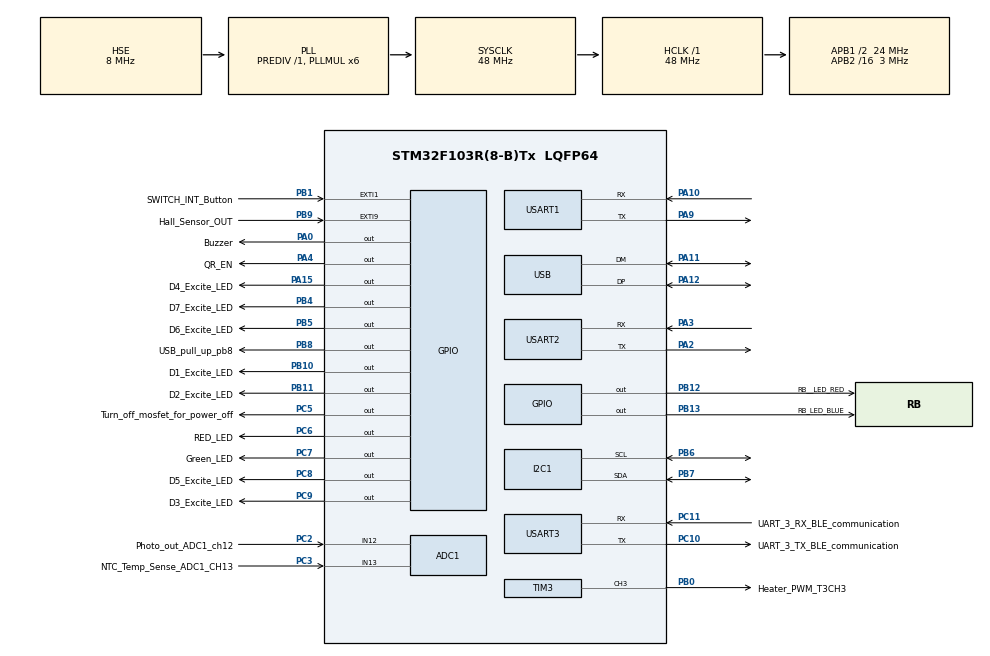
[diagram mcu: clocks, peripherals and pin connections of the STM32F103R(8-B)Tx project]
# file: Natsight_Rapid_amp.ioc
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ADC1.Channel-0\#ChannelRegularConversion=ADC_CHANNEL_12
ADC1.Channel-1\#ChannelRegularConversion=ADC_CHANNEL_13
ADC1.ContinuousConvMode=ENABLE
ADC1.NbrOfConversion=2
ADC1.NbrOfConversionFlag=1
ADC1.Rank-0\#ChannelRegularConversion=1
ADC1.Rank-1\#ChannelRegularConversion=2
ADC1.SamplingTime-0\#ChannelRegularConversion=ADC_SAMPLETIME_239CYCLES_5
ADC1.SamplingTime-1\#ChannelRegularConversion=ADC_SAMPLETIME_239CYCLES_5
ADC1.master=1
Dma.ADC1.0.Direction=DMA_PERIPH_TO_MEMORY
Dma.ADC1.0.Instance=DMA1_Channel1
Dma.ADC1.0.MemDataAlignment=DMA_MDATAALIGN_HALFWORD
Dma.ADC1.0.MemInc=DMA_MINC_ENABLE
Dma.ADC1.0.Mode=DMA_CIRCULAR
Dma.ADC1.0.PeriphDataAlignment=DMA_PDATAALIGN_HALFWORD
Dma.ADC1.0.PeriphInc=DMA_PINC_DISABLE
Dma.ADC1.0.Priority=DMA_PRIORITY_VERY_HIGH
Dma.Request0=ADC1
Mcu.Family=STM32F1
Mcu.Name=STM32F103R(8-B)Tx
Mcu.Package=LQFP64
NVIC.DMA1_Channel1_IRQn=true\:0\:0\:false\:false\:true\:false\:true\:true
NVIC.EXTI1_IRQn=true\:0\:0\:false\:false\:true\:true\:true\:true
NVIC.EXTI9_5_IRQn=true\:0\:0\:false\:false\:true\:true\:true\:true
NVIC.PriorityGroup=NVIC_PRIORITYGROUP_4
NVIC.TIM4_IRQn=true\:0\:0\:false\:false\:true\:true\:true\:true
NVIC.USART2_IRQn=true\:0\:0\:false\:false\:true\:true\:true\:true
NVIC.USART3_IRQn=true\:0\:0\:false\:false\:true\:true\:true\:true
NVIC.USB_LP_CAN1_RX0_IRQn=true\:0\:0\:false\:false\:true\:false\:true\:true
PA0-WKUP.GPIO_Label=Buzzer
PA0-WKUP.Signal=GPIO_Output
PA10.Mode=Asynchronous
PA10.Signal=USART1_RX
PA11.Mode=Device
PA11.Signal=USB_DM
PA12.Mode=Device
PA12.Signal=USB_DP
PA13.Mode=Serial_Wire
PA13.Signal=SYS_JTMS-SWDIO
PA14.Mode=Serial_Wire
PA14.Signal=SYS_JTCK-SWCLK
PA15.GPIO_Label=D4_Excite_LED
PA15.PinState=GPIO_PIN_RESET
PA15.Signal=GPIO_Output
PA2.Mode=Asynchronous
PA2.Signal=USART2_TX
PA3.Mode=Asynchronous
PA3.Signal=USART2_RX
PA4.GPIO_Label=QR_EN
PA4.Signal=GPIO_Output
PA9.Mode=Asynchronous
PA9.Signal=USART1_TX
PB0.GPIO_Label=Heater_PWM_T3CH3
PB0.Signal=S_TIM3_CH3
PB1.GPIO_Label=SWITCH_INT_Button
PB1.GPIO_ModeDefaultEXTI=GPIO_MODE_IT_FALLING
PB1.Signal=GPXTI1
PB10.GPIO_Label=D1_Excite_LED
PB10.PinState=GPIO_PIN_RESET
PB10.Signal=GPIO_Output
PB11.GPIO_Label=D2_Excite_LED
PB11.PinState=GPIO_PIN_RESET
PB11.Signal=GPIO_Output
PB12.GPIO_Label=RB__LED_RED
PB12.Signal=GPIO_Output
PB13.GPIO_Label=RB_LED_BLUE
PB13.Signal=GPIO_Output
PB4.GPIO_Label=D7_Excite_LED
PB4.PinState=GPIO_PIN_RESET
PB4.Signal=GPIO_Output
PB5.GPIO_Label=D6_Excite_LED
PB5.PinState=GPIO_PIN_RESET
PB5.Signal=GPIO_Output
PB6.Mode=I2C
PB6.Signal=I2C1_SCL
PB7.Mode=I2C
PB7.Signal=I2C1_SDA
PB8.GPIO_Label=USB_pull_up_pb8
PB8.Signal=GPIO_Output
PB9.GPIO_Label=Hall_Sensor_OUT
PB9.Signal=GPXTI9
PC10.GPIO_Label=UART_3_TX_BLE_communication
PC10.Mode=Asynchronous
PC10.Signal=USART3_TX
PC11.GPIO_Label=UART_3_RX_BLE_communication
PC11.Mode=Asynchronous
PC11.Signal=USART3_RX
PC2.GPIO_Label=Photo_out_ADC1_ch12
PC2.Signal=ADCx_IN12
PC3.GPIO_Label=NTC_Temp_Sense_ADC1_CH13
PC3.Signal=ADCx_IN13
PC5.GPIO_Label=Turn_off_mosfet_for_power_off
PC5.Signal=GPIO_Output
PC6.GPIO_Label=RED_LED
PC6.Signal=GPIO_Output
PC7.GPIO_Label=Green_LED
PC7.Signal=GPIO_Output
PC8.GPIO_Label=D5_Excite_LED
PC8.PinState=GPIO_PIN_RESET
PC8.Signal=GPIO_Output
PC9.GPIO_Label=D3_Excite_LED
PC9.PinState=GPIO_PIN_RESET
PC9.Signal=GPIO_Output
PD0-OSC_IN.Mode=HSE-External-Oscillator
PD0-OSC_IN.Signal=RCC_OSC_IN
PD1-OSC_OUT.Mode=HSE-External-Oscillator
PD1-OSC_OUT.Signal=RCC_OSC_OUT
ProjectManager.HeapSize=0x200
ProjectManager.StackSize=0x400
ProjectManager.TargetToolchain=STM32CubeIDE
RCC.ADCPresc=RCC_ADCPCLK2_DIV6
RCC.AHBFreq_Value=48000000
RCC.APB1CLKDivider=RCC_HCLK_DIV2
RCC.APB1Freq_Value=24000000
RCC.APB1TimFreq_Value=48000000
RCC.APB2CLKDivider=RCC_HCLK_DIV16
RCC.APB2Freq_Value=3000000
RCC.APB2TimFreq_Value=6000000
RCC.HCLKFreq_Value=48000000
RCC.PLLMUL=RCC_PLL_MUL6
RCC.SYSCLKFreq_VALUE=48000000
RCC.SYSCLKSource=RCC_SYSCLKSOURCE_PLLCLK
RCC.USBFreq_Value=48000000
SH.ADCx_IN12.0=ADC1_IN12,IN12
SH.ADCx_IN13.0=ADC1_IN13,IN13
SH.S_TIM3_CH3.0=TIM3_CH3,PWM Generation3 CH3
TIM3.Channel-PWM\ Generation3\ CH3=TIM_CHANNEL_3
TIM3.Period=1000
TIM3.Prescaler=48-1
TIM4.AutoReloadPreload=TIM_AUTORELOAD_PRELOAD_ENABLE
TIM4.Period=50000
TIM4.Prescaler=48-1
USART1.VirtualMode=VM_ASYNC
USART2.VirtualMode=VM_ASYNC
USART3.VirtualMode=VM_ASYNC
USB_DEVICE.CLASS_NAME_FS=CDC
USB_DEVICE.VirtualMode=Cdc
USB_DEVICE.VirtualModeFS=Cdc_FS
VP_TIM3_VS_ClockSourceINT.Mode=Internal
VP_TIM4_VS_ClockSourceINT.Mode=Internal
VP_USB_DEVICE_VS_USB_DEVICE_CDC_FS.Mode=CDC_FS
board=custom

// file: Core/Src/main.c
/* USER CODE BEGIN Header */
/**
  ******************************************************************************
  * @file           : main.c
  * @brief          : Main program body
  ******************************************************************************
  * @attention
  *
  * Copyright (c) 2026 STMicroelectronics.
  * All rights reserved.
  *
  * This software is licensed under terms that can be found in the LICENSE file
  * in the root directory of this software component.
  * If no LICENSE file comes with this software, it is provided AS-IS.
  *
  ******************************************************************************
  */
/* USER CODE END Header */
#include "main.h"
#include "usb_device.h"

/* USER CODE BEGIN Includes */

#include "string.h"
#include <stdint.h>
#include <NTC_calculate_temp.h>
#include <PID.h>
#include "Basic_functions_1.h"
#include "Result_interpretation.h"
#include <math.h>
#include <stdio.h>
#include "usbd_cdc_if.h"
#include "ssd1306_1.h"
/* USER CODE END Includes */

/* USER CODE BEGIN PD */
volatile uint16_t ADC_VAL_DMA[2]={0},ADC_Average_result[2]={0};
volatile uint32_t ADC_VAL=0,count_button=0,TIM4_count=0,LID_Count=0,Second_count_in_Timer=0,minute_counter_in_Timer=0;
volatile uint8_t PRE_HEAT_FLAG=0,Count_Excite_LED_position=0,START_Reading_Switch=0,Data_Aquisition_flag_photo=0,Minutes_is_less_30_minutes=0,BUZZER_FLAG=0,SOMETHING_DETECTED=0,GET_USB_Status=0,RESULT_DETECTED=1;
float Current_Temp=0.0f,Set_Target_Temp=62.0f;
volatile uint32_t three_sec_count=0;

//Display Contnet Variable control
static uint8_t Time_2_min = 60,Count_sec = 0;
volatile uint8_t min_tim = 2;
//BLE
volatile   uint8_t DATA_RECIEVED = 0; //for ble data reciving
uint8_t local_buff_BLE[50] = {0};
uint8_t Data_ACK_FLAG = 0;
//BLE variables
#define RX_BLE_BUFF 1
uint8_t RX_buff[RX_BLE_BUFF];

//from usbd_conf.c  file
volatile uint8_t CABLE_PLUGGED=0,CABLE_REMOVED=0;
extern volatile uint8_t START_COMMAND_FROM_PC,STOP_COMMAND_FROM_PC;

/* USER CODE END PD */

/* USER CODE BEGIN PM */
typedef enum
{
  TEMP_OK       = 0x00U,
  TEMP_ERROR    = 0x01U,
  TEMP_SHORT    = 0x02U,
  TEMP_OPEN     = 0x03U
} TEMP_StatusTypeDef;
/* USER CODE END PM */

ADC_HandleTypeDef hadc1;
DMA_HandleTypeDef hdma_adc1;

I2C_HandleTypeDef hi2c1;

TIM_HandleTypeDef htim3;
TIM_HandleTypeDef htim4;

UART_HandleTypeDef huart1;
UART_HandleTypeDef huart2;
UART_HandleTypeDef huart3;

void SystemClock_Config(void);
static void MX_GPIO_Init(void);
static void MX_DMA_Init(void);
static void MX_ADC1_Init(void);
static void MX_TIM3_Init(void);
static void MX_USART1_UART_Init(void);
static void MX_USART2_UART_Init(void);
static void MX_TIM4_Init(void);
static void MX_USART3_UART_Init(void);
static void MX_I2C1_Init(void);
/* USER CODE BEGIN PFP */
void Preheat_loop(void);
TEMP_StatusTypeDef check_Temprature_sensor_available(uint32_t ADC_VAL);
void Turn_off_Rest_of_the_Turned_on_LED(LED_ID id,GPIO_Pin_Status status);
void Trigger_LED_Channel(LED_ID id,GPIO_Pin_Status status);
void Turn_off_All_LED(void);
void Turn_on_All_LED(void);
void Trigger_led_Aquire_data(uint8_t temp_count);
void Reset_buffer_index(void);
void Buzzer_Test_Complete_tone(void);
void Buzzer_power_on_tone(void);
void send_usb_string(const char* str);
void send_BLE_using_USART3_string(const char* str);
void Excite_Aquisition_and_calculate_Result(POSITION *well_ptrs[NUM_CHANNELS]);
void Device_ready_Tone(void);
void Send_timer_to_display_Preheat_time(void);
void Send_timer_to_display_Test_time(void);
Moving_average Average_TEMP={0},Average_Photo_D={0};

/* USER CODE END PFP */

/* USER CODE BEGIN 0 */
/*
 ADC sampling time = (sampling time + conversion cycle )/ADC_CLOCK_FRQ

 ADC sampling time = (239.5 + 12.5)/0.5Mhz =0.48ms

 adc will fire after every 0.48ms and result will get store in moving average

 * */
void HAL_ADC_ConvCpltCallback(ADC_HandleTypeDef *hadc)
{

/*******************average of Photo Diode DATA Start **********************************/
	if(Data_Aquisition_flag_photo)
	{
	uint16_t STORE_LOCAL_ADC_DATA_ONCE_PHOTO[1]= {0};
	STORE_LOCAL_ADC_DATA_ONCE_PHOTO[0] = ADC_VAL_DMA[0];
	Average_Photo_D.sum-=Average_Photo_D.Buffer_PHOTO[Average_Photo_D.buffer_index];
	Average_Photo_D.Buffer_PHOTO[Average_Photo_D.buffer_index] = STORE_LOCAL_ADC_DATA_ONCE_PHOTO[0];
	Average_Photo_D.sum += STORE_LOCAL_ADC_DATA_ONCE_PHOTO[0];
	Average_Photo_D.buffer_index = (Average_Photo_D.buffer_index + 1)%MOVING_BUFFER_SIZE_PHOTO;   //UPDATE circuler  index
	ADC_Average_result[0] = Average_Photo_D.sum / MOVING_BUFFER_SIZE_PHOTO;
	}

/*******************average of Photo Diode DATA END **********************************/

/*******************average of TEMP DATAe DATA Start **********************************/

	//average of TEMP DATA
	uint16_t STORE_LOCAL_ADC_DATA_ONCE_TEMP_NTC[1]= {0};
	STORE_LOCAL_ADC_DATA_ONCE_TEMP_NTC[0] = ADC_VAL_DMA[1];
	Average_TEMP.sum-=Average_TEMP.Buffer_TEMP[Average_TEMP.buffer_index];
	Average_TEMP.Buffer_TEMP[Average_TEMP.buffer_index] = STORE_LOCAL_ADC_DATA_ONCE_TEMP_NTC[0];
	Average_TEMP.sum += STORE_LOCAL_ADC_DATA_ONCE_TEMP_NTC[0];
	Average_TEMP.buffer_index = (Average_TEMP.buffer_index + 1)%MOVING_BUFFER_SIZE_TEMP;   //UPDATE circuler  index
	ADC_Average_result[1] = Average_TEMP.sum / MOVING_BUFFER_SIZE_TEMP;

/*******************average of TEMP DATA DATA END **********************************/
}

//Timer will fire Every 50ms
void HAL_TIM_PeriodElapsedCallback(TIM_HandleTypeDef* htim)
{
  /****************************Preheating 1 sec counter & MINUTE COUNTER Start *****************************************************/
	if(START_Reading_Switch){minute_counter_in_Timer++;}
	Second_count_in_Timer++;
	 if((Second_count_in_Timer >=20) && PRE_HEAT_FLAG)
	 {
		 //Pre Heat LED indicate every 1 sec toggle
		 HAL_GPIO_TogglePin(RB__LED_RED_GPIO_Port, RB__LED_RED_Pin);
		 Second_count_in_Timer = 0;

	 }
	 else if((Second_count_in_Timer >=20) && PRE_HEAT_FLAG == 0 && START_Reading_Switch)
	 	 {
	 	//on going  TEST LED indicate every 1 Sec toggle
		 if(!SOMETHING_DETECTED){
			 //update Display Every second
			 Send_timer_to_display_Test_time();
			 HAL_GPIO_TogglePin(RB_LED_BLUE_GPIO_Port, RB_LED_BLUE_Pin);}   //THIS IS USED WHEN TEST IS COMPLETED TO STOP BLINKING BLUE LED REFER RESULT_INTERPRETATION.C

	 		 //buzzer off
	 		  HAL_GPIO_WritePin(Buzzer_GPIO_Port, Buzzer_Pin, 0);  //off

	 		 //Buzzer toggle
	 		 if(START_Reading_Switch && BUZZER_FLAG && !PRE_HEAT_FLAG){
	 		 HAL_GPIO_TogglePin(Buzzer_GPIO_Port, Buzzer_Pin);
	 	  	 BUZZER_FLAG =0;
	 		 }
	 		 Second_count_in_Timer = 0;
	 	 }
	 else
	 {
		if(Second_count_in_Timer > 15000)
		{
			Second_count_in_Timer = 0;  //reset
		}
	 }

	 if(minute_counter_in_Timer > 6000)
	 {
		 minute_counter_in_Timer = 0;
	 }
 /****************************Preheating 1 Sec counter & MINUTE COUNTER END *****************************************************/

  /****************************Button logic 3 second press power cut off Start *****************************************************/
	 if (htim->Instance == TIM4) // Replace TIMx with your configured timer (e.g., htim2.Instance)
	  {
		 if((HAL_GPIO_ReadPin(SWITCH_INT_Button_GPIO_Port, SWITCH_INT_Button_Pin) == 0) && count_button)
		 {
		 TIM4_count++;// Do your elapsed time task here (e.g., toggle LED)
		 if(TIM4_count > 60)
		 {
			 //turn off mcu power after 3 sec
			 HAL_GPIO_WritePin(Turn_off_mosfet_for_power_off_GPIO_Port, Turn_off_mosfet_for_power_off_Pin, 0);
		 }
		 }
		 else
		 {
			 TIM4_count=0;
		 }
	  }
	/****************************Button logic 3 second press power cut off END *****************************************************/

	 /****************************Calculate Temperature every 50ms and Heater PID power Start **************************************/
	 static PIDController Heater_Power = {0};
	 if(check_Temprature_sensor_available(ADC_Average_result[1]) != TEMP_OK)
		{
			  Error_Handler();
	    }
	    Current_Temp=Calculate_temprature(ADC_Average_result[1]);
	    PID_Decision(&Heater_Power, 200.0f, 0.01f,0.0f, Set_Target_Temp);   //target power iS 5W
	    __HAL_TIM_SET_COMPARE(&htim3, TIM_CHANNEL_3, PID_Compute_for_Heater_Power(&Heater_Power, Current_Temp, 1));  // TIM1->CCR1 = duty;
    /****************************Calculate Temperature every 50ms and Heater PID power END ****************************************/

   /*********************************USB FLAG CONNECTED DISCONNED RESPOND HERE START***********************************************/
	    if(START_COMMAND_FROM_PC)
	   	    	 {
	   	    		START_COMMAND_FROM_PC =0;
	   	    		START_Reading_Switch = 1;  //start from PC command
	   	    		BUZZER_FLAG = 1;  //send start command in main loop
	   	    	    send_usb_string("{0x70,0x04}\n"); //ack start
	   	    	 }
	   	    	 else if(STOP_COMMAND_FROM_PC)
	   	    	 {
	   	    		 STOP_COMMAND_FROM_PC = 0;
	   	    		 send_usb_string("{0x70,0x05}\n"); //ack stop
	   	    		// Error_Handler();

	   	    		 //when user abort test from otherside then by raising this flag we are able to reset controller
	   	    		RESULT_DETECTED = 0;
	   	    		SOMETHING_DETECTED = 1; //to stop blinking of Blue LED
	   	    		Invalid_led_indicate();
	   	    	 }

   /*********************************USB FLAG CONNECTED DISCONNED RESPOND HERE END***********************************************/
}

//BLE interrupt uart 3
void HAL_UART_RxCpltCallback(UART_HandleTypeDef *huart)
{
  	if(huart->Instance == USART3)
  	{
  		static uint8_t store_data_in_buffer = 0;
  		static uint8_t count_recieved_packets = 0;

  		if(RX_buff[0] == 0x7B)   // {
  		{
  			store_data_in_buffer = 1;
  		}
  		else if((RX_buff[0] == 0x7D) && store_data_in_buffer == 1)  // }
  		{
  			store_data_in_buffer = 0;
  			local_buff_BLE[count_recieved_packets++] = RX_buff[0];
  			 if(strcmp((char*)local_buff_BLE,"{0x04}") == 0)  //start command
  			        	 {
  				            Data_ACK_FLAG = 1;
  				          send_BLE_using_USART3_string("{0x70,0x04}\n"); //ack start
  				          send_BLE_using_USART3_string("{0x06}\n");
  			        		 count_recieved_packets = 0;
  			        		START_Reading_Switch = 1;  //start from PC command
  			        		memset(local_buff_BLE,0,50);
  			        	 }
  			        	 else if(strcmp((char*)local_buff_BLE,"{0x05}") == 0)
  			        	 {
  			        		 send_BLE_using_USART3_string("{0x70,0x05}\n"); //ack start
  			        		 count_recieved_packets = 0;
  			        		 memset(local_buff_BLE,0,50);
  			        		// Error_Handler();

  			        		 //when user abort test from otherside then by raising this flag we are able to reset controller
  			        	     RESULT_DETECTED = 0;
  			        	     SOMETHING_DETECTED = 1; //to stop blinking of Blue LED
  			           		 Invalid_led_indicate();
  			        	 }
  			        	 else
  			        	 {
  			        	            	store_data_in_buffer = 0;
  			        	  				count_recieved_packets = 0;
  			        	  			    memset(local_buff_BLE,0,50);
  			        	 }
  		}
  		 if(store_data_in_buffer)
  		{
  			local_buff_BLE[count_recieved_packets++] = RX_buff[0];
  			if(store_data_in_buffer > 48)
  			{
  				store_data_in_buffer = 0;
  				count_recieved_packets = 0;
  			    memset(local_buff_BLE,0,50);
  			}
  		}
  		else if(strcmp((char*)RX_buff,"}") == 0 && store_data_in_buffer == 1)
  		{
  			store_data_in_buffer = 0;
  		}

            HAL_UART_Receive_IT(&huart3,RX_buff,RX_BLE_BUFF);
  	}
}

/* USER CODE END 0 */

int main(void)
{

  /* MCU Configuration--------------------------------------------------------*/

  /* Reset of all peripherals, Initializes the Flash interface and the Systick. */
  HAL_Init();

  /* Configure the system clock */
  SystemClock_Config();

  /* Initialize all configured peripherals */
  MX_GPIO_Init();
  MX_DMA_Init();
  MX_ADC1_Init();
  MX_TIM3_Init();
  MX_USART1_UART_Init();
  MX_USART2_UART_Init();
  MX_USB_DEVICE_Init();
  MX_TIM4_Init();
  MX_USART3_UART_Init();
  MX_I2C1_Init();
  /* USER CODE BEGIN 2 */

  if (SSD1306_Init(&hi2c1)!=0)
  {
	   Error_Handler();
  }

  SSD1306_Clear(SSD1306_BLACK);

  SSD1306_DrawString(0, 0, "RapidAmp", SSD1306_WHITE, 1);
  SSD1306_Update();

  SSD1306_DrawString(0, 20, "By Meril", SSD1306_WHITE, 1);
  SSD1306_Update();

  /***************************************************************************************
   *
   *
   *  All Setup and initialization  Start
   *
   * **************************************************************************************/

  //start BLE interrupt reciever in UART3
  HAL_UART_Receive_IT(&huart3,RX_buff,RX_BLE_BUFF);

//Set Power pin high to get MCU power
  HAL_GPIO_WritePin(Turn_off_mosfet_for_power_off_GPIO_Port, Turn_off_mosfet_for_power_off_Pin, 1);
//Reset all LED to Low
  HAL_GPIO_WritePin(RB_LED_BLUE_GPIO_Port, RB_LED_BLUE_Pin, 1); //off
  HAL_GPIO_WritePin(RB__LED_RED_GPIO_Port, RB__LED_RED_Pin, 1); //off
  HAL_GPIO_WritePin(Green_LED_GPIO_Port, Green_LED_Pin, 1);  //off
  HAL_GPIO_WritePin(RED_LED_GPIO_Port, RED_LED_Pin, 1);  //off
  HAL_GPIO_WritePin(QR_EN_GPIO_Port, QR_EN_Pin, 1);  //off
  HAL_GPIO_WritePin(USB_pull_up_pb8_GPIO_Port, USB_pull_up_pb8_Pin, 1);  //off

  //buzzer off
  HAL_GPIO_WritePin(Buzzer_GPIO_Port, Buzzer_Pin, 0);  //off
  HAL_Delay(200);

  //Turn off All Excitation LEDs
  Turn_off_All_LED();

  //Start DMA for ADC scanning
  HAL_Delay(100);
  HAL_ADCEx_Calibration_Start(&hadc1);  // ← add this
  HAL_ADC_Start_DMA(&hadc1, (uint32_t*)ADC_VAL_DMA, 2);
  HAL_Delay(100);

  //Toggle buzzer thrice indicates power on
  Buzzer_power_on_tone();
  /* USER CODE END 2 */

  /* Infinite loop */
  /* USER CODE BEGIN WHILE */

  //Initialize pointer
  POSITION WELL_1={0},WELL_2={0},WELL_3={0},WELL_4={0},WELL_5={0},WELL_6={0},WELL_7={0};
  // Pointer array — no extra memory, just pointers to existing structs
  POSITION *wells[7] = {&WELL_1, &WELL_2, &WELL_3, &WELL_4,&WELL_5, &WELL_6, &WELL_7};

  //Heater PWM Start
  HAL_TIM_PWM_Start(&htim3, TIM_CHANNEL_3);

  //PCR result initialization all bufferes gets reset here
   PCR_Init(wells);
  /***************************************************************************************
   *
   *
   *  All Setup and initialization  END
   *
   * **************************************************************************************/

 /*********************display initialization start*******************************/
//   if (SSD1306_Init(&hi2c1)!=0)
//   {
//	   Error_Handler();
//   }

    // --- Draw something ---

  /******************************Preheat loop********************************************************/

  Preheat_loop();

  /****************************Preheat loop END***********************************************************/

  //Dont blink On going test LED until it started from Any trigger source
  SOMETHING_DETECTED = 1 ;

  /*****************************************************************************************************

   * FOR EXCITING LEDS
   * Moving TO  clockwise from well 1 to well 7
   *
   *   well 1 - LED5
   *   well 2 - LED6
   *   well 3 - LED7
   *   well 4 - LED4
   *   well 5 - LED2
   *   well 6 - LED3
   *   well 7 - LED1
   *
   * *************************************************************************************/

  //Send Insert Cartridge String to BLE,PC

  send_usb_string("{0x03}\n"); //send Insert Cartridge and close Lid to PC
  send_BLE_using_USART3_string("{0x03}\n");  //send Insert Cartridge and close Lid BLE
  HAL_Delay(50);

  //Device Ready Tone
  Device_ready_Tone();
  HAL_Delay(10);

  //Turn On BLue LED for Readyness
  HAL_GPIO_WritePin(RB_LED_BLUE_GPIO_Port, RB_LED_BLUE_Pin, 0); //on

  //wait here till any start command Received from any source
  while(!START_Reading_Switch)
  {
	  HAL_Delay(10);
  }
  //blink On going test LED until it started from Any trigger source
  send_usb_string("{0x06}\n");  //send test running at first when it start command recieved from pc or BLE or device button press
  send_BLE_using_USART3_string("{0x06}\n");  //send test running at first when it start command recieved from pc or BLE or device button press

  SOMETHING_DETECTED = 0 ;

  SSD1306_Clear(SSD1306_BLACK);
  SSD1306_DrawString(0, 0, "Test      Started", SSD1306_WHITE, 1);
  SSD1306_Update();

 // SSD1306_Clear(SSD1306_BLACK);
  SSD1306_DrawString(0, 30, "Time ", SSD1306_WHITE, 1);
  SSD1306_Update();

  SSD1306_DrawString(0, 50, "Remaining ", SSD1306_WHITE, 1);
  SSD1306_Update();

  while (1)
  {
	     //Once Start Command Received from any source from Switch,PC,BLE This will Start Executing
	     while(START_Reading_Switch)
	     {
            //Once Start command Received This Loop will Run once for to transmit data to BLE and PC
	    	 if(Data_ACK_FLAG)
	    	 {
	    		 for(uint8_t i=0;i<5;i++){
	    		 send_BLE_using_USART3_string("{0x70,0x04}\n"); //ack start
	    		 HAL_Delay(10);
	    		 send_BLE_using_USART3_string("{0x06}\n");
	    		 Data_ACK_FLAG = 0;
	    		 HAL_Delay(10);
	    		 }
	    	 }
	       //Test Running Till Result Anounneced
		  if(minute_counter_in_Timer >= 1220 && Minutes_is_less_30_minutes < 30 && RESULT_DETECTED)  //every 1 min it will execute
		  {
			  send_usb_string("{0x06}\n"); //tEST Running send every minute to pC
			  send_BLE_using_USART3_string("{0x06}\n"); //tEST Running send every minute to BLE
			  Excite_Aquisition_and_calculate_Result(wells);
		  }

		   //when Result is completed then this loop will run once switch is pressed this will work Reset will be performed
		  else if(!RESULT_DETECTED && BUZZER_FLAG)
		  {
			  __NVIC_SystemReset();
		  }
	     }
    /* USER CODE END WHILE */

  }
}

void SystemClock_Config(void)
{
  RCC_OscInitTypeDef RCC_OscInitStruct = {0};
  RCC_ClkInitTypeDef RCC_ClkInitStruct = {0};
  RCC_PeriphCLKInitTypeDef PeriphClkInit = {0};

  /** Initializes the RCC Oscillators according to the specified parameters
  * in the RCC_OscInitTypeDef structure.
  */
  RCC_OscInitStruct.OscillatorType = RCC_OSCILLATORTYPE_HSE;
  RCC_OscInitStruct.HSEState = RCC_HSE_ON;
  RCC_OscInitStruct.HSEPredivValue = RCC_HSE_PREDIV_DIV1;
  RCC_OscInitStruct.HSIState = RCC_HSI_ON;
  RCC_OscInitStruct.PLL.PLLState = RCC_PLL_ON;
  RCC_OscInitStruct.PLL.PLLSource = RCC_PLLSOURCE_HSE;
  RCC_OscInitStruct.PLL.PLLMUL = RCC_PLL_MUL6;
  if (HAL_RCC_OscConfig(&RCC_OscInitStruct) != HAL_OK)
  {
    Error_Handler();
  }

  /** Initializes the CPU, AHB and APB buses clocks
  */
  RCC_ClkInitStruct.ClockType = RCC_CLOCKTYPE_HCLK|RCC_CLOCKTYPE_SYSCLK
                              |RCC_CLOCKTYPE_PCLK1|RCC_CLOCKTYPE_PCLK2;
  RCC_ClkInitStruct.SYSCLKSource = RCC_SYSCLKSOURCE_PLLCLK;
  RCC_ClkInitStruct.AHBCLKDivider = RCC_SYSCLK_DIV1;
  RCC_ClkInitStruct.APB1CLKDivider = RCC_HCLK_DIV2;
  RCC_ClkInitStruct.APB2CLKDivider = RCC_HCLK_DIV16;

  if (HAL_RCC_ClockConfig(&RCC_ClkInitStruct, FLASH_LATENCY_1) != HAL_OK)
  {
    Error_Handler();
  }
  PeriphClkInit.PeriphClockSelection = RCC_PERIPHCLK_ADC|RCC_PERIPHCLK_USB;
  PeriphClkInit.AdcClockSelection = RCC_ADCPCLK2_DIV6;
  PeriphClkInit.UsbClockSelection = RCC_USBCLKSOURCE_PLL;
  if (HAL_RCCEx_PeriphCLKConfig(&PeriphClkInit) != HAL_OK)
  {
    Error_Handler();
  }
}

static void MX_ADC1_Init(void)
{

  ADC_ChannelConfTypeDef sConfig = {0};

  /** Common config
  */
  hadc1.Instance = ADC1;
  hadc1.Init.ScanConvMode = ADC_SCAN_ENABLE;
  hadc1.Init.ContinuousConvMode = ENABLE;
  hadc1.Init.DiscontinuousConvMode = DISABLE;
  hadc1.Init.ExternalTrigConv = ADC_SOFTWARE_START;
  hadc1.Init.DataAlign = ADC_DATAALIGN_RIGHT;
  hadc1.Init.NbrOfConversion = 2;
  if (HAL_ADC_Init(&hadc1) != HAL_OK)
  {
    Error_Handler();
  }

  /** Configure Regular Channel
  */
  sConfig.Channel = ADC_CHANNEL_12;
  sConfig.Rank = ADC_REGULAR_RANK_1;
  sConfig.SamplingTime = ADC_SAMPLETIME_239CYCLES_5;
  if (HAL_ADC_ConfigChannel(&hadc1, &sConfig) != HAL_OK)
  {
    Error_Handler();
  }

  /** Configure Regular Channel
  */
  sConfig.Channel = ADC_CHANNEL_13;
  sConfig.Rank = ADC_REGULAR_RANK_2;
  if (HAL_ADC_ConfigChannel(&hadc1, &sConfig) != HAL_OK)
  {
    Error_Handler();
  }

}

static void MX_I2C1_Init(void)
{

  hi2c1.Instance = I2C1;
  hi2c1.Init.ClockSpeed = 100000;
  hi2c1.Init.DutyCycle = I2C_DUTYCYCLE_2;
  hi2c1.Init.OwnAddress1 = 0;
  hi2c1.Init.AddressingMode = I2C_ADDRESSINGMODE_7BIT;
  hi2c1.Init.DualAddressMode = I2C_DUALADDRESS_DISABLE;
  hi2c1.Init.OwnAddress2 = 0;
  hi2c1.Init.GeneralCallMode = I2C_GENERALCALL_DISABLE;
  hi2c1.Init.NoStretchMode = I2C_NOSTRETCH_DISABLE;
  if (HAL_I2C_Init(&hi2c1) != HAL_OK)
  {
    Error_Handler();
  }

}

static void MX_TIM3_Init(void)
{

  TIM_ClockConfigTypeDef sClockSourceConfig = {0};
  TIM_MasterConfigTypeDef sMasterConfig = {0};
  TIM_OC_InitTypeDef sConfigOC = {0};

  htim3.Instance = TIM3;
  htim3.Init.Prescaler = 48-1;
  htim3.Init.CounterMode = TIM_COUNTERMODE_UP;
  htim3.Init.Period = 1000;
  htim3.Init.ClockDivision = TIM_CLOCKDIVISION_DIV1;
  htim3.Init.AutoReloadPreload = TIM_AUTORELOAD_PRELOAD_DISABLE;
  if (HAL_TIM_Base_Init(&htim3) != HAL_OK)
  {
    Error_Handler();
  }
  sClockSourceConfig.ClockSource = TIM_CLOCKSOURCE_INTERNAL;
  if (HAL_TIM_ConfigClockSource(&htim3, &sClockSourceConfig) != HAL_OK)
  {
    Error_Handler();
  }
  if (HAL_TIM_PWM_Init(&htim3) != HAL_OK)
  {
    Error_Handler();
  }
  sMasterConfig.MasterOutputTrigger = TIM_TRGO_RESET;
  sMasterConfig.MasterSlaveMode = TIM_MASTERSLAVEMODE_DISABLE;
  if (HAL_TIMEx_MasterConfigSynchronization(&htim3, &sMasterConfig) != HAL_OK)
  {
    Error_Handler();
  }
  sConfigOC.OCMode = TIM_OCMODE_PWM1;
  sConfigOC.Pulse = 0;
  sConfigOC.OCPolarity = TIM_OCPOLARITY_HIGH;
  sConfigOC.OCFastMode = TIM_OCFAST_DISABLE;
  if (HAL_TIM_PWM_ConfigChannel(&htim3, &sConfigOC, TIM_CHANNEL_3) != HAL_OK)
  {
    Error_Handler();
  }
  HAL_TIM_MspPostInit(&htim3);

}

static void MX_TIM4_Init(void)
{

  TIM_ClockConfigTypeDef sClockSourceConfig = {0};
  TIM_MasterConfigTypeDef sMasterConfig = {0};

  htim4.Instance = TIM4;
  htim4.Init.Prescaler = 48-1;
  htim4.Init.CounterMode = TIM_COUNTERMODE_UP;
  htim4.Init.Period = 50000;
  htim4.Init.ClockDivision = TIM_CLOCKDIVISION_DIV1;
  htim4.Init.AutoReloadPreload = TIM_AUTORELOAD_PRELOAD_ENABLE;
  if (HAL_TIM_Base_Init(&htim4) != HAL_OK)
  {
    Error_Handler();
  }
  sClockSourceConfig.ClockSource = TIM_CLOCKSOURCE_INTERNAL;
  if (HAL_TIM_ConfigClockSource(&htim4, &sClockSourceConfig) != HAL_OK)
  {
    Error_Handler();
  }
  sMasterConfig.MasterOutputTrigger = TIM_TRGO_RESET;
  sMasterConfig.MasterSlaveMode = TIM_MASTERSLAVEMODE_DISABLE;
  if (HAL_TIMEx_MasterConfigSynchronization(&htim4, &sMasterConfig) != HAL_OK)
  {
    Error_Handler();
  }

}

static void MX_USART1_UART_Init(void)
{

  huart1.Instance = USART1;
  huart1.Init.BaudRate = 115200;
  huart1.Init.WordLength = UART_WORDLENGTH_8B;
  huart1.Init.StopBits = UART_STOPBITS_1;
  huart1.Init.Parity = UART_PARITY_NONE;
  huart1.Init.Mode = UART_MODE_TX_RX;
  huart1.Init.HwFlowCtl = UART_HWCONTROL_NONE;
  huart1.Init.OverSampling = UART_OVERSAMPLING_16;
  if (HAL_UART_Init(&huart1) != HAL_OK)
  {
    Error_Handler();
  }

}

static void MX_USART2_UART_Init(void)
{

  huart2.Instance = USART2;
  huart2.Init.BaudRate = 115200;
  huart2.Init.WordLength = UART_WORDLENGTH_8B;
  huart2.Init.StopBits = UART_STOPBITS_1;
  huart2.Init.Parity = UART_PARITY_NONE;
  huart2.Init.Mode = UART_MODE_TX_RX;
  huart2.Init.HwFlowCtl = UART_HWCONTROL_NONE;
  huart2.Init.OverSampling = UART_OVERSAMPLING_16;
  if (HAL_UART_Init(&huart2) != HAL_OK)
  {
    Error_Handler();
  }

}

static void MX_USART3_UART_Init(void)
{

  huart3.Instance = USART3;
  huart3.Init.BaudRate = 115200;
  huart3.Init.WordLength = UART_WORDLENGTH_8B;
  huart3.Init.StopBits = UART_STOPBITS_1;
  huart3.Init.Parity = UART_PARITY_NONE;
  huart3.Init.Mode = UART_MODE_TX_RX;
  huart3.Init.HwFlowCtl = UART_HWCONTROL_NONE;
  huart3.Init.OverSampling = UART_OVERSAMPLING_16;
  if (HAL_UART_Init(&huart3) != HAL_OK)
  {
    Error_Handler();
  }

}

static void MX_DMA_Init(void)
{

  /* DMA controller clock enable */
  __HAL_RCC_DMA1_CLK_ENABLE();

  /* DMA interrupt init */
  /* DMA1_Channel1_IRQn interrupt configuration */
  HAL_NVIC_SetPriority(DMA1_Channel1_IRQn, 0, 0);
  HAL_NVIC_EnableIRQ(DMA1_Channel1_IRQn);

}

static void MX_GPIO_Init(void)
{
  GPIO_InitTypeDef GPIO_InitStruct = {0};

  /* GPIO Ports Clock Enable */
  __HAL_RCC_GPIOD_CLK_ENABLE();
  __HAL_RCC_GPIOC_CLK_ENABLE();
  __HAL_RCC_GPIOA_CLK_ENABLE();
  __HAL_RCC_GPIOB_CLK_ENABLE();

  /*Configure GPIO pin Output Level */
  HAL_GPIO_WritePin(GPIOA, Buzzer_Pin|QR_EN_Pin|D4_Excite_LED_Pin, GPIO_PIN_RESET);

  /*Configure GPIO pin Output Level */
  HAL_GPIO_WritePin(GPIOC, Turn_off_mosfet_for_power_off_Pin|RED_LED_Pin|Green_LED_Pin|D5_Excite_LED_Pin
                          |D3_Excite_LED_Pin, GPIO_PIN_RESET);

  /*Configure GPIO pin Output Level */
  HAL_GPIO_WritePin(GPIOB, D1_Excite_LED_Pin|D2_Excite_LED_Pin|RB__LED_RED_Pin|RB_LED_BLUE_Pin
                          |D7_Excite_LED_Pin|D6_Excite_LED_Pin|USB_pull_up_pb8_Pin, GPIO_PIN_RESET);

  /*Configure GPIO pins : Buzzer_Pin QR_EN_Pin D4_Excite_LED_Pin */
  GPIO_InitStruct.Pin = Buzzer_Pin|QR_EN_Pin|D4_Excite_LED_Pin;
  GPIO_InitStruct.Mode = GPIO_MODE_OUTPUT_PP;
  GPIO_InitStruct.Pull = GPIO_NOPULL;
  GPIO_InitStruct.Speed = GPIO_SPEED_FREQ_LOW;
  HAL_GPIO_Init(GPIOA, &GPIO_InitStruct);

  /*Configure GPIO pins : Turn_off_mosfet_for_power_off_Pin RED_LED_Pin Green_LED_Pin D5_Excite_LED_Pin
                           D3_Excite_LED_Pin */
  GPIO_InitStruct.Pin = Turn_off_mosfet_for_power_off_Pin|RED_LED_Pin|Green_LED_Pin|D5_Excite_LED_Pin
                          |D3_Excite_LED_Pin;
  GPIO_InitStruct.Mode = GPIO_MODE_OUTPUT_PP;
  GPIO_InitStruct.Pull = GPIO_NOPULL;
  GPIO_InitStruct.Speed = GPIO_SPEED_FREQ_LOW;
  HAL_GPIO_Init(GPIOC, &GPIO_InitStruct);

  /*Configure GPIO pin : SWITCH_INT_Button_Pin */
  GPIO_InitStruct.Pin = SWITCH_INT_Button_Pin;
  GPIO_InitStruct.Mode = GPIO_MODE_IT_FALLING;
  GPIO_InitStruct.Pull = GPIO_NOPULL;
  HAL_GPIO_Init(SWITCH_INT_Button_GPIO_Port, &GPIO_InitStruct);

  /*Configure GPIO pins : D1_Excite_LED_Pin D2_Excite_LED_Pin RB__LED_RED_Pin RB_LED_BLUE_Pin
                           D7_Excite_LED_Pin D6_Excite_LED_Pin USB_pull_up_pb8_Pin */
  GPIO_InitStruct.Pin = D1_Excite_LED_Pin|D2_Excite_LED_Pin|RB__LED_RED_Pin|RB_LED_BLUE_Pin
                          |D7_Excite_LED_Pin|D6_Excite_LED_Pin|USB_pull_up_pb8_Pin;
  GPIO_InitStruct.Mode = GPIO_MODE_OUTPUT_PP;
  GPIO_InitStruct.Pull = GPIO_NOPULL;
  GPIO_InitStruct.Speed = GPIO_SPEED_FREQ_LOW;
  HAL_GPIO_Init(GPIOB, &GPIO_InitStruct);

  /*Configure GPIO pin : Hall_Sensor_OUT_Pin */
  GPIO_InitStruct.Pin = Hall_Sensor_OUT_Pin;
  GPIO_InitStruct.Mode = GPIO_MODE_IT_RISING;
  GPIO_InitStruct.Pull = GPIO_NOPULL;
  HAL_GPIO_Init(Hall_Sensor_OUT_GPIO_Port, &GPIO_InitStruct);

  /* EXTI interrupt init*/
  HAL_NVIC_SetPriority(EXTI1_IRQn, 0, 0);
  HAL_NVIC_EnableIRQ(EXTI1_IRQn);

  HAL_NVIC_SetPriority(EXTI9_5_IRQn, 0, 0);
  HAL_NVIC_EnableIRQ(EXTI9_5_IRQn);

}

/* USER CODE BEGIN 4 */

void Excite_Aquisition_and_calculate_Result(POSITION *well_ptrs[NUM_CHANNELS])
{
	                  minute_counter_in_Timer = 0;
				      Minutes_is_less_30_minutes++;

				      //for Pluslife Excitation PCB

				                      Reset_buffer_index();
				  					  Trigger_led_Aquire_data(1);
				  					  well_ptrs[0]->Buff[Minutes_is_less_30_minutes -1] = ADC_Average_result[0];
				  	             //     call_final_results();

				  	                  Reset_buffer_index();
				  	                  Trigger_led_Aquire_data(2);
				  	                  well_ptrs[1]->Buff[Minutes_is_less_30_minutes -1] = ADC_Average_result[0];

				  					  Reset_buffer_index();
				  					  Trigger_led_Aquire_data(3);
				  					  well_ptrs[2]->Buff[Minutes_is_less_30_minutes -1] = ADC_Average_result[0];

				  					  Reset_buffer_index();
				  					  Trigger_led_Aquire_data(5);
				  					  well_ptrs[3]->Buff[Minutes_is_less_30_minutes -1] = ADC_Average_result[0];

				  					  Reset_buffer_index();
				  					  Trigger_led_Aquire_data(6);
				  					  well_ptrs[4]->Buff[Minutes_is_less_30_minutes -1] = ADC_Average_result[0];

				  					  Reset_buffer_index();
				  					  Trigger_led_Aquire_data(7);
				  					  well_ptrs[5]->Buff[Minutes_is_less_30_minutes -1] = ADC_Average_result[0];

				  					  Reset_buffer_index();
				  					  Trigger_led_Aquire_data(4);
				  					  well_ptrs[6]->Buff[Minutes_is_less_30_minutes -1] = ADC_Average_result[0];

				      //for original LED PCb

//				      Reset_buffer_index();
//					  Trigger_led_Aquire_data(5);
//					  well_ptrs[0]->Buff[Minutes_is_less_30_minutes -1] = ADC_Average_result[0];
//	             //     call_final_results();
//
//	                  Reset_buffer_index();
//	                  Trigger_led_Aquire_data(6);
//	                  well_ptrs[1]->Buff[Minutes_is_less_30_minutes -1] = ADC_Average_result[0];
//
//					  Reset_buffer_index();
//					  Trigger_led_Aquire_data(7);
//					  well_ptrs[2]->Buff[Minutes_is_less_30_minutes -1] = ADC_Average_result[0];
//
//					  Reset_buffer_index();
//					  Trigger_led_Aquire_data(4);
//					  well_ptrs[3]->Buff[Minutes_is_less_30_minutes -1] = ADC_Average_result[0];
//
//					  Reset_buffer_index();
//					  Trigger_led_Aquire_data(2);
//					  well_ptrs[4]->Buff[Minutes_is_less_30_minutes -1] = ADC_Average_result[0];
//
//					  Reset_buffer_index();
//					  Trigger_led_Aquire_data(3);
//					  well_ptrs[5]->Buff[Minutes_is_less_30_minutes -1] = ADC_Average_result[0];
//
//					  Reset_buffer_index();
//					  Trigger_led_Aquire_data(1);
//					  well_ptrs[6]->Buff[Minutes_is_less_30_minutes -1] = ADC_Average_result[0];

					  Turn_off_All_LED();

					  //Result
					  PCR_OnMinuteTick(Minutes_is_less_30_minutes);

					  Count_Excite_LED_position = 0;
}

// Sending different strings based on condition
void send_usb_string(const char* str) {
  GET_USB_Status = CDC_Transmit_FS((uint8_t*)str, strlen(str));
 //   HAL_Delay(10); // Small delay to ensure transmission
}

// Sending different strings based on condition
void send_BLE_using_USART3_string(const char* str) {
  HAL_UART_Transmit(&huart3, (uint8_t*)str, strlen(str), 200);
 // HAL_Delay(10); // Small delay to ensure transmission
}

void Device_ready_Tone(void)
{
	      HAL_GPIO_WritePin(Buzzer_GPIO_Port, Buzzer_Pin, 1);  //off
		  HAL_Delay(150);
		  HAL_GPIO_WritePin(Buzzer_GPIO_Port, Buzzer_Pin, 0);  //off
		  HAL_Delay(150);
		  HAL_GPIO_WritePin(Buzzer_GPIO_Port, Buzzer_Pin, 1);  //off
		  HAL_Delay(150);
		  HAL_GPIO_WritePin(Buzzer_GPIO_Port, Buzzer_Pin, 0);  //off
		  HAL_Delay(150);
		  HAL_GPIO_WritePin(Buzzer_GPIO_Port, Buzzer_Pin, 1);  //off
		  HAL_Delay(150);
		  HAL_GPIO_WritePin(Buzzer_GPIO_Port, Buzzer_Pin, 0);  //off
		  HAL_Delay(150);
}

void Buzzer_power_on_tone(void)
{
	  HAL_GPIO_WritePin(Buzzer_GPIO_Port, Buzzer_Pin, 1);  //off
	  HAL_Delay(100);
	  HAL_GPIO_WritePin(Buzzer_GPIO_Port, Buzzer_Pin, 0);  //off
	  HAL_Delay(100);
	  HAL_GPIO_WritePin(Buzzer_GPIO_Port, Buzzer_Pin, 1);  //off
	  HAL_Delay(100);
	  HAL_GPIO_WritePin(Buzzer_GPIO_Port, Buzzer_Pin, 0);  //off
	  HAL_Delay(100);
	  HAL_GPIO_WritePin(Buzzer_GPIO_Port, Buzzer_Pin, 1);  //off
	  HAL_Delay(100);
	  HAL_GPIO_WritePin(Buzzer_GPIO_Port, Buzzer_Pin, 0);  //off
	  HAL_Delay(100);
}

void Buzzer_Test_Complete_tone(void)
{
	  HAL_GPIO_WritePin(Buzzer_GPIO_Port, Buzzer_Pin, 1);  //off
	  HAL_Delay(500);
	  HAL_GPIO_WritePin(Buzzer_GPIO_Port, Buzzer_Pin, 0);  //off
	  HAL_Delay(500);
	  HAL_GPIO_WritePin(Buzzer_GPIO_Port, Buzzer_Pin, 1);  //off
	  HAL_Delay(500);
	  HAL_GPIO_WritePin(Buzzer_GPIO_Port, Buzzer_Pin, 0);  //off
	  HAL_Delay(500);
	  HAL_GPIO_WritePin(Buzzer_GPIO_Port, Buzzer_Pin, 1);  //off
	  HAL_Delay(500);
	  HAL_GPIO_WritePin(Buzzer_GPIO_Port, Buzzer_Pin, 0);  //off
}
void Reset_buffer_index(void)
{
	  Moving_average  Average_Photo_D={0};
}
void Trigger_led_Aquire_data(uint8_t temp_count)
{
	//  HAL_Delay (100);

	  Turn_off_Rest_of_the_Turned_on_LED(temp_count,GPIO_PIN_LOW);
	  HAL_Delay (1000);
	  Data_Aquisition_flag_photo = 1;
	  Trigger_LED_Channel(temp_count,GPIO_PIN_HIGH);
	  HAL_Delay (1000);
	  Data_Aquisition_flag_photo = 0;
}
void Turn_on_All_LED(void)
{
	      Trigger_LED_Channel(1,GPIO_PIN_HIGH);
		  Trigger_LED_Channel(2,GPIO_PIN_HIGH);
		  Trigger_LED_Channel(3,GPIO_PIN_HIGH);
		  Trigger_LED_Channel(4,GPIO_PIN_HIGH);
		  Trigger_LED_Channel(5,GPIO_PIN_HIGH);
		  Trigger_LED_Channel(6,GPIO_PIN_HIGH);
		  Trigger_LED_Channel(7,GPIO_PIN_HIGH);

}

void Turn_off_All_LED(void)
{
	  Trigger_LED_Channel(1,GPIO_PIN_LOW);
	  Trigger_LED_Channel(2,GPIO_PIN_LOW);
	  Trigger_LED_Channel(3,GPIO_PIN_LOW);
	  Trigger_LED_Channel(4,GPIO_PIN_LOW);
	  Trigger_LED_Channel(5,GPIO_PIN_LOW);
	  Trigger_LED_Channel(6,GPIO_PIN_LOW);
	  Trigger_LED_Channel(7,GPIO_PIN_LOW);
}

void Turn_off_Rest_of_the_Turned_on_LED(LED_ID id,GPIO_Pin_Status status)
{
	for(uint8_t count_led = 1; count_led < 8 ; count_led++)
	{
  	if(count_led != id)
  	{
  		HAL_GPIO_WritePin(LED_Map[count_led].port, LED_Map[count_led].pin, status);
  	}
	}
}
void Trigger_LED_Channel(LED_ID id,GPIO_Pin_Status status)
{
    if (id >= 8) return;  // bounds check

    HAL_GPIO_WritePin(LED_Map[id].port, LED_Map[id].pin, status);
}

TEMP_StatusTypeDef check_Temprature_sensor_available(uint32_t ADC_VAL)
{

     if(ADC_VAL > 4000)
   	{
   		return TEMP_OPEN;
   	}
   	else if(ADC_VAL < 100)
   	{
   		return TEMP_SHORT;
   	}
   	else
   	{
   		return TEMP_OK;
   	}

}

void Send_timer_to_display_Preheat_time(void)
{
	  //send 3 min timer to display
static uint8_t min = 2;

				       if((HAL_GetTick() - three_sec_count) > 1000){

				        			    	   Count_sec++;

				        			    	 if(Count_sec < 181 && Time_2_min !=0)
				        			    	 {
				        			    		 Time_2_min--;
				        			    		 if(Time_2_min == 0 && min !=0)
				        			    		 {
				        			    			 min = min - 1;
				        			    		 	 Time_2_min = 60;
				        			    	      }

				        			    	 if(Time_2_min < 10)
				        			    	 {
				        			    	 char buff[20];
				        			    	 sprintf(buff,"Time=%d:0%d",min,Time_2_min);
				        			    	 SSD1306_DrawString(0, 50, buff, SSD1306_WHITE, 1);
				        			         SSD1306_Update();
				        			    	 }
				        			    	 else
				        			    	 {
				        			    	 char buff[20];
				        			    	 sprintf(buff,"Time=%d:%d",min,Time_2_min);
				        			    	 SSD1306_DrawString(0, 50, buff, SSD1306_WHITE, 1);
				        			    	 SSD1306_Update();
				        			    	 }

				        			         three_sec_count = HAL_GetTick(); // Reset timer
				        			    	 }

				        			       }

}

void Send_timer_to_display_Test_time(void)
{
	  //send 3 min timer to display
static uint8_t min = 29;

				        			    	 if(Time_2_min !=0)
				        			    	 {
				        			    		 Time_2_min--;
				        			    		 if(Time_2_min == 0 && min !=0)
				        			    		 {
				        			    			 min = min - 1;
				        			    		 	 Time_2_min = 60;
				        			    	     }

				        			    	 if(Time_2_min < 10)
				        			    	 {
				        			    	 char buff[20];
				        			    	 if(min < 10){
				        			    	 sprintf(buff,"0%d:0%d",min,Time_2_min);
				        			    	 }
				        			    	 else
				        			    	 {
				        			    	 sprintf(buff,"%d:0%d",min,Time_2_min);
				        			    	 }
				        			    	 SSD1306_DrawString(0, 80, buff, SSD1306_WHITE, 2);
				        			         SSD1306_Update();

				        			    	 }
				        			    	 else
				        			    	 {
				        			    	 char buff[20];
				        			    	 if(min < 10){
				        			    	 sprintf(buff,"0%d:%d",min,Time_2_min);}
				        			    	 else
				        			    	 {
				        			         sprintf(buff,"%d:%d",min,Time_2_min);
				        			    	 }
				        			    	 SSD1306_DrawString(0, 80, buff, SSD1306_WHITE, 2);
				        			    	 SSD1306_Update();
				        			    	 }

				        			       }

}

void Preheat_loop(void)
{
	PIDController Heater_Power;

   #define PREHEAT_TIMEOUT_MS   480000UL   // 240,000 ticks = 240,000ms = 4 minutes
   #define PREHEAT_STABLE_COUNTS 5         // must hold temp for N consecutive ticks
   #define PREHEAT_TARGET_DEGC  59.0f
	//send device id and name to PC
	// send_usb_string("{0x00}\n"); //device id
	 HAL_Delay(20);
	// send_usb_string("[Natsight RapidAmp,11112223]\n");
	 HAL_Delay(20);

	 //send device id and name to BLE
	 send_BLE_using_USART3_string("{0x70,0x00}\n"); //device id
     HAL_Delay(20);
     send_BLE_using_USART3_string("[0x00,11112222,Natsight RapidAmp]\n");
	 HAL_Delay(20);

	 //write preheating on display
	  SSD1306_Clear(SSD1306_BLACK);
	  SSD1306_DrawString(0, 0, "Device", SSD1306_WHITE, 1);
	  SSD1306_Update();

	  SSD1306_DrawString(0, 20, "Preheating", SSD1306_WHITE, 1);
	  SSD1306_Update();

	  SSD1306_DrawString(0, 30, "..........", SSD1306_WHITE, 1);
	  SSD1306_Update();
	//Set pre_heat flag
	PRE_HEAT_FLAG = 1;
    three_sec_count = HAL_GetTick();

    //this will count for 4 minutes after that i will throw error or once heater achieves target for N times it will get out of the loop
    uint32_t preheat_start_count = three_sec_count;
    uint8_t Count_N_times_target_temp = 0;
	//Start 50ms timer interrupt
	 HAL_TIM_Base_Start_IT(&htim4);
	do
	{

			       if(check_Temprature_sensor_available(ADC_Average_result[1]) != TEMP_OK)
			       {
			    	    Error_Handler();
			       }
			       Current_Temp=Calculate_temprature(ADC_Average_result[1]);

			       if (Current_Temp >= PREHEAT_TARGET_DEGC)
			       {
			    	   Count_N_times_target_temp++;
			       }
			       else
			       {
			    	   Count_N_times_target_temp = 0;
			       }

			       PID_Decision(&Heater_Power, 500.0f, 0.01f,0.0f, Set_Target_Temp);   //target power iS 5W
			       __HAL_TIM_SET_COMPARE(&htim3, TIM_CHANNEL_3, PID_Compute_for_Heater_Power(&Heater_Power, Current_Temp, 1));  // TIM1->CCR1 = duty;

			       //timout check for 4 minutes
			       if((HAL_GetTick() - preheat_start_count) > PREHEAT_TIMEOUT_MS)
			       {
			    	   send_usb_string("{0xE5}\n"); //Hardware Fault to PC
			    	   send_BLE_using_USART3_string("{0xE5}\n"); //Hardware Fault  BLE
			    	   Error_Handler();
			       }

                   //send every 3 sec data to USB
			       if((HAL_GetTick() - three_sec_count) > 3000){
				   send_usb_string("{0x01}\n"); //pre-heating to PC
				   send_BLE_using_USART3_string("{0x01}\n"); //pre-heating to BLE
			       HAL_Delay(20);
			       three_sec_count = HAL_GetTick(); // Reset timer
			       }

			       Send_timer_to_display_Preheat_time(); //3 min

	}while(Count_N_times_target_temp < PREHEAT_STABLE_COUNTS);

	//Reset pre_heat Flag
	PRE_HEAT_FLAG= 0;
	//buzzer trigger
	BUZZER_FLAG = 1;
	HAL_Delay(1000);
	//Turn off RED LED (this indicate preheat is done)
	HAL_GPIO_WritePin(RB__LED_RED_GPIO_Port, RB__LED_RED_Pin, 1); //off
	//Turn on Blue LED to indicate Device is Ready
	HAL_GPIO_WritePin(RB_LED_BLUE_GPIO_Port, RB_LED_BLUE_Pin, 0); //off

	//preheat is done now device is Ready
	 send_usb_string("{0x02}\n"); //Ready to PC
	 send_BLE_using_USART3_string("{0x02}\n"); //Ready to BLE
	 HAL_Delay(20);

	 //write Ready  on display
		  SSD1306_Clear(SSD1306_BLACK);
		  SSD1306_DrawString(0, 0, "Device", SSD1306_WHITE, 1);
		  SSD1306_Update();

		  SSD1306_DrawString(0, 20, "Ready", SSD1306_WHITE, 1);
		  SSD1306_Update();

		  SSD1306_DrawString(0, 30, "---------", SSD1306_WHITE, 1);
		  SSD1306_Update();

		  SSD1306_DrawString(0, 40, "Waiting to", SSD1306_WHITE, 1);
		  SSD1306_Update();

		  SSD1306_DrawString(0, 60, "Start test", SSD1306_WHITE, 1);
		  SSD1306_Update();

		  SSD1306_DrawString(0, 80, "by user", SSD1306_WHITE, 1);
		  SSD1306_Update();
}
/* USER CODE END 4 */

void Error_Handler(void)
{
  /* USER CODE BEGIN Error_Handler_Debug */
  /* User can add his own implementation to report the HAL error return state */
  __disable_irq();
  while (1)
  {
	 	  HAL_GPIO_TogglePin(Green_LED_GPIO_Port, Green_LED_Pin);
	  	  HAL_GPIO_TogglePin(RED_LED_GPIO_Port, RED_LED_Pin);
	      HAL_GPIO_TogglePin(RB_LED_BLUE_GPIO_Port, RB_LED_BLUE_Pin);
	 	  HAL_GPIO_TogglePin(RB__LED_RED_GPIO_Port, RB__LED_RED_Pin);
	 	  send_usb_string("{0x22}\n"); //Temperature Error to PC
	 	 send_BLE_using_USART3_string("{0x22}\n"); //Temperature Error to BLE
	 	  HAL_Delay(20);
	 	  //Heater off
	 	  TIM3->CCR3 = 0;
	  	  HAL_Delay(1000);

  }
  /* USER CODE END Error_Handler_Debug */
}
